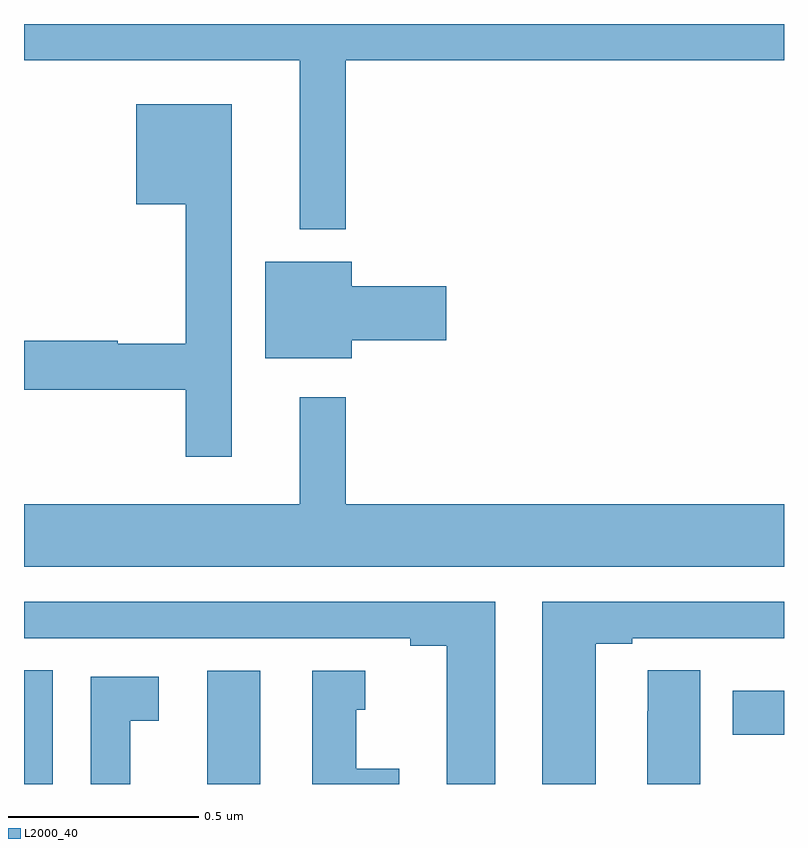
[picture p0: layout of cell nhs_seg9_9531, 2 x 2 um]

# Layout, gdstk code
import gdstk
lib = gdstk.Library(unit=1e-6, precision=1e-09)
def R(c, l, rs):  # rectangles x0, y0, x1, y1
    for r in rs: c.add(gdstk.rectangle(r[:2], r[2:], *l))
def P(c, l, *ps):  # polygons
    for p in ps: c.add(gdstk.Polygon(p, *l))
L2000_40 = (2000, 40)

nhs_seg9_9531 = lib.new_cell('nhs_seg9_9531')
R(nhs_seg9_9531, L2000_40, [(231,1210.5,231.076,1210.799), (231.482,1210.5,231.622,1210.798), (232.865,1210.63,233,1210.746)])
P(nhs_seg9_9531, L2000_40, [(231.847,1212.404),(233,1212.404),(233,1212.5),(231,1212.5),(231,1212.404),(231.725,1212.404),(231.725,1211.96),(231.847,1211.96)],
  [(231.547,1212.289),(231.296,1212.289),(231.296,1212.026),(231.426,1212.026),(231.426,1211.659),(231.247,1211.659),(231.247,1211.666),(231,1211.666),(231,1211.538),(231.426,1211.538),(231.426,1211.361),(231.547,1211.361)],
  [(231.862,1211.668),(232.111,1211.668),(232.111,1211.81),(231.862,1211.81),(231.862,1211.875),(231.635,1211.875),(231.635,1211.621),(231.862,1211.621)],
  [(233,1211.236),(231.847,1211.236),(231.847,1211.518),(231.725,1211.518),(231.725,1211.236),(231,1211.236),(231,1211.072),(233,1211.072)],
  [(232.504,1210.869),(232.6,1210.869),(232.6,1210.884),(232.876,1210.884),(232.876,1210.883),(233,1210.883),(233,1210.98),(232.364,1210.98),(232.364,1210.5),(232.504,1210.5)],
  [(232.24,1210.98),(231,1210.98),(231,1210.884),(232.016,1210.884),(232.016,1210.864),(232.112,1210.864),(232.112,1210.5),(232.24,1210.5)],
  [(232.78,1210.799),(232.641,1210.799),(232.641,1210.691),(232.64,1210.691),(232.64,1210.5),(232.78,1210.5)],
  [(231.988,1210.54),(231.874,1210.54),(231.874,1210.695),(231.898,1210.695),(231.898,1210.798),(231.758,1210.798),(231.758,1210.5),(231.988,1210.5)],
  [(231.28,1210.666),(231.355,1210.666),(231.355,1210.782),(231.176,1210.782),(231.176,1210.5),(231.28,1210.5)])

lib.write_gds('nhs_seg9_9531.gds')
